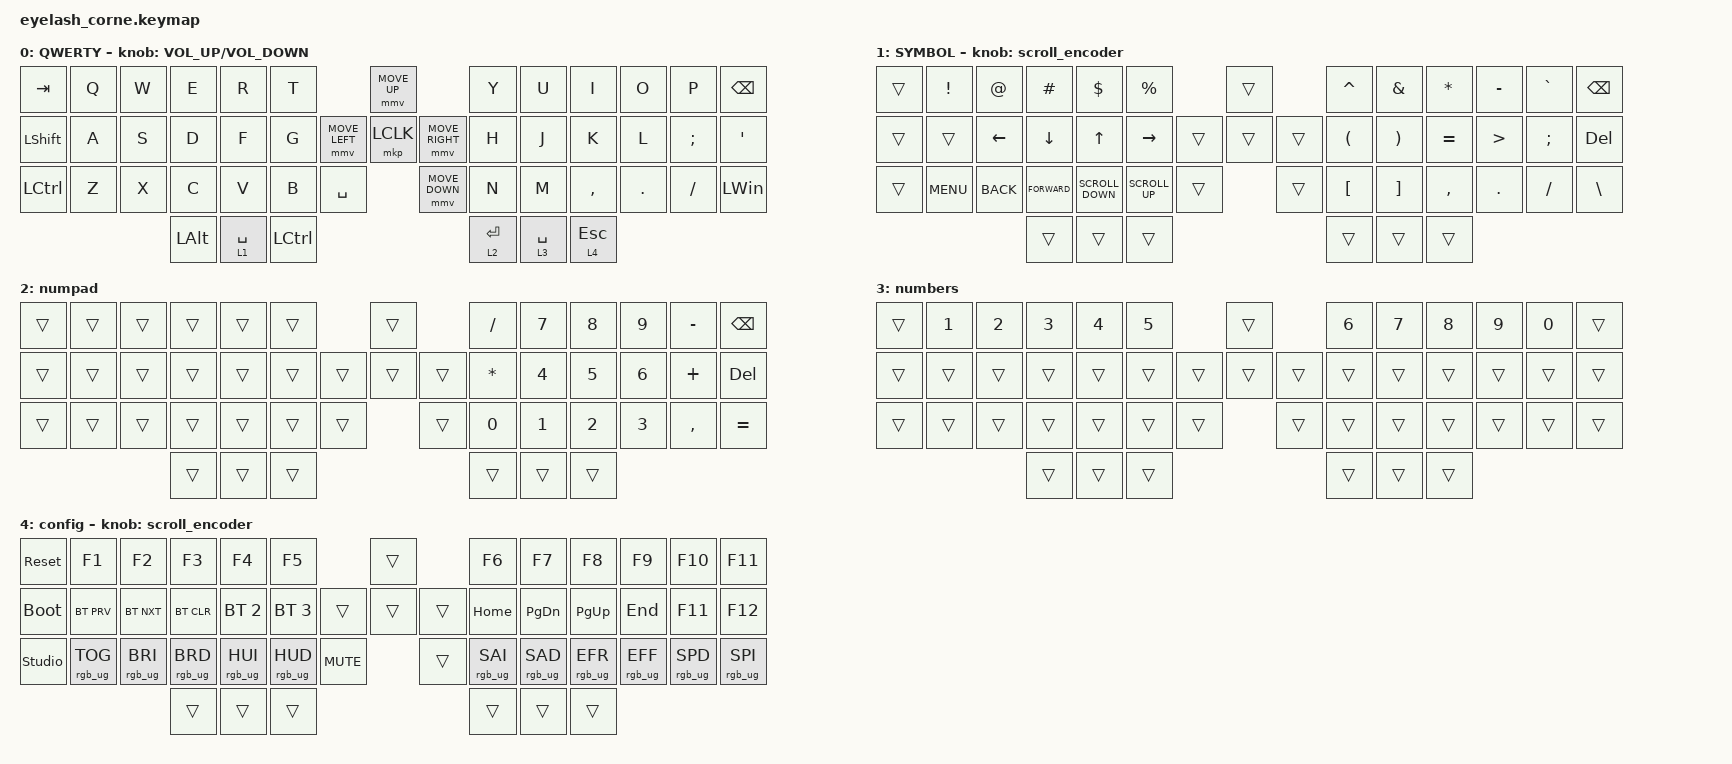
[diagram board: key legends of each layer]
#define ZMK_POINTING_DEFAULT_MOVE_VAL 1200  // 600
#define ZMK_POINTING_DEFAULT_SCRL_VAL 25   // 10

#include <input/processors.dtsi>
#include <zephyr/dt-bindings/input/input-event-codes.h>
#include <behaviors.dtsi>
#include <dt-bindings/zmk/bt.h>
#include <dt-bindings/zmk/keys.h>
#include <dt-bindings/zmk/pointing.h>
#include <dt-bindings/zmk/rgb.h>

&mmv_input_listener { input-processors = <&zip_xy_scaler 2 1>; };

&msc_input_listener { input-processors = <&zip_scroll_scaler 2 1>; };

&msc {
    acceleration-exponent = <1>;      // 0
    time-to-max-speed-ms = <100>;       // 300
    delay-ms = <0>;                   // 0
};

&mmv {
    time-to-max-speed-ms = <500>;
    acceleration-exponent = <1>;
    trigger-period-ms = <16>;
};

/ {
    behaviors {
        td0: td0 {
            compatible = "zmk,behavior-tap-dance";
            display-name = "Shift/Caps Lock Tap Dance";
            #binding-cells = <0>;
            bindings = <&kp LEFT_SHIFT>, <&kp CAPS>;
        };
    };

    rgb_encoder: rgb_encoder {
        compatible = "zmk,behavior-sensor-rotate";
        #sensor-binding-cells = <0>;
        bindings = <&rgb_ug RGB_BRI>, <&rgb_ug RGB_BRD>;
    };

    scroll_encoder: scroll_encoder {
        compatible = "zmk,behavior-sensor-rotate";
        #sensor-binding-cells = <0>;
        bindings = <&msc SCRL_DOWN>, <&msc SCRL_UP>;

        tap-ms = <100>;
    };

    keymap {
        compatible = "zmk,keymap";

        default_layer {
            display-name = "QWERTY";
            bindings = <
&kp TAB         &kp Q  &kp W  &kp E         &kp R        &kp T                                   &mmv MOVE_UP                     &kp Y        &kp U        &kp I      &kp O    &kp P     &kp BSPC
&kp LEFT_SHIFT  &kp A  &kp S  &kp D         &kp F        &kp G                   &mmv MOVE_LEFT  &mkp LCLK       &mmv MOVE_RIGHT  &kp H        &kp J        &kp K      &kp L    &kp SEMI  &kp SQT
&kp LCTRL       &kp Z  &kp X  &kp C         &kp V        &kp B      &kp SPACE                    &mmv MOVE_DOWN                   &kp N        &kp M        &kp COMMA  &kp DOT  &kp FSLH  &kp LEFT_WIN
                              &kp LEFT_ALT  &lt 1 SPACE  &kp LCTRL                                                                &lt 2 ENTER  &lt 3 SPACE  &lt 4 ESC
            >;

            sensor-bindings = <&inc_dec_kp C_VOLUME_UP C_VOLUME_DOWN>;
        };

        symbols {
            display-name = "SYMBOL";
            bindings = <
&trans  &kp EXCL    &kp AT      &kp HASH       &kp DLLR           &kp PRCNT                          &trans          &kp CARET             &kp AMPS               &kp ASTRK  &kp MINUS         &kp GRAVE      &kp BSPC
&trans  &trans      &kp LEFT    &kp DOWN       &kp UP             &kp RIGHT                  &trans  &trans  &trans  &kp LEFT_PARENTHESIS  &kp RIGHT_PARENTHESIS  &kp EQUAL  &kp GREATER_THAN  &kp SEMICOLON  &kp DEL
&trans  &kp K_MENU  &kp K_BACK  &kp K_FORWARD  &kp K_SCROLL_DOWN  &kp K_SCROLL_UP  &trans            &trans          &kp LEFT_BRACKET      &kp RIGHT_BRACKET      &kp COMMA  &kp PERIOD        &kp SLASH      &kp BACKSLASH
                                &trans         &trans             &trans                                             &trans                &trans                 &trans
            >;

            sensor-bindings = <&scroll_encoder>;
        };

        numpad {
            bindings = <
&trans  &trans  &trans  &trans  &trans  &trans                    &trans          &kp FSLH  &kp N7  &kp N8  &kp N9  &kp MINUS  &kp BSPC
&trans  &trans  &trans  &trans  &trans  &trans            &trans  &trans  &trans  &kp STAR  &kp N4  &kp N5  &kp N6  &kp PLUS   &kp DEL
&trans  &trans  &trans  &trans  &trans  &trans  &trans            &trans          &kp N0    &kp N1  &kp N2  &kp N3  &kp COMMA  &kp EQUAL
                        &trans  &trans  &trans                                    &trans    &trans  &trans
            >;

            label = "numpad";
        };

        numbers {
            bindings = <
&trans  &kp N1  &kp N2  &kp N3  &kp N4  &kp N5                    &trans          &kp N6  &kp N7  &kp N8  &kp N9  &kp N0  &trans
&trans  &trans  &trans  &trans  &trans  &trans            &trans  &trans  &trans  &trans  &trans  &trans  &trans  &trans  &trans
&trans  &trans  &trans  &trans  &trans  &trans  &trans            &trans          &trans  &trans  &trans  &trans  &trans  &trans
                        &trans  &trans  &trans                                    &trans  &trans  &trans
            >;

            label = "numbers";
        };

        system {
            display-name = "config";
            bindings = <
&sys_reset      &kp F1           &kp F2           &kp F3           &kp F4           &kp F5                                 &trans          &kp F6           &kp F7           &kp F8           &kp F9           &kp F10          &kp F11
&bootloader     &bt BT_PRV       &bt BT_NXT       &bt BT_CLR       &bt BT_SEL 2     &bt BT_SEL 3                   &trans  &trans  &trans  &kp HOME         &kp PAGE_DOWN    &kp PAGE_UP      &kp END          &kp F11          &kp F12
&studio_unlock  &rgb_ug RGB_TOG  &rgb_ug RGB_BRI  &rgb_ug RGB_BRD  &rgb_ug RGB_HUI  &rgb_ug RGB_HUD  &kp C_MUTE            &trans          &rgb_ug RGB_SAI  &rgb_ug RGB_SAD  &rgb_ug RGB_EFR  &rgb_ug RGB_EFF  &rgb_ug RGB_SPD  &rgb_ug RGB_SPI
                                                  &trans           &trans           &trans                                                 &trans           &trans           &trans
            >;

            sensor-bindings = <&scroll_encoder>;
        };
    };
};
